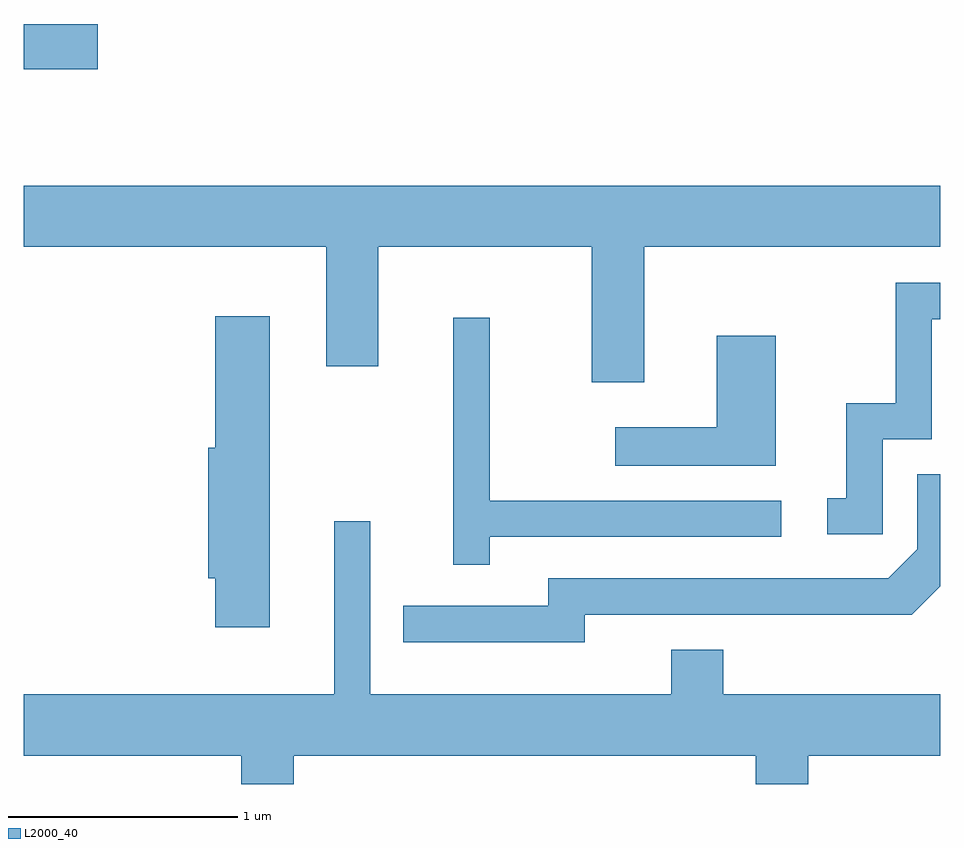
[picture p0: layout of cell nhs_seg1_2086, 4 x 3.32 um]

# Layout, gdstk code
import gdstk
lib = gdstk.Library(unit=1e-6, precision=1e-09)
def R(c, l, rs):  # rectangles x0, y0, x1, y1
    for r in rs: c.add(gdstk.rectangle(r[:2], r[2:], *l))
def P(c, l, *ps):  # polygons
    for p in ps: c.add(gdstk.Polygon(p, *l))
L2000_40 = (2000, 40)

nhs_seg1_2086 = lib.new_cell('nhs_seg1_2086')
R(nhs_seg1_2086, L2000_40, [(249.611,864.831,249.934,865.029)])
P(nhs_seg1_2086, L2000_40, [(252.319,864.056),(253.611,864.056),(253.611,864.324),(249.611,864.324),(249.611,864.056),(250.931,864.056),(250.931,863.536),(251.159,863.536),(251.159,864.056),(252.091,864.056),(252.091,863.466),(252.319,863.466)],
  [(253.359,863.216),(253.574,863.216),(253.574,863.741),(253.611,863.741),(253.611,863.899),(253.416,863.899),(253.416,863.374),(253.201,863.374),(253.201,862.959),(253.118,862.959),(253.118,862.801),(253.359,862.801)],
  [(250.684,863.754),(250.446,863.754),(250.446,863.179),(250.416,863.179),(250.416,862.611),(250.446,862.611),(250.446,862.396),(250.684,862.396)],
  [(251.644,862.791),(252.918,862.791),(252.918,862.949),(251.644,862.949),(251.644,863.748),(251.486,863.748),(251.486,862.668),(251.644,862.668)],
  [(252.894,863.669),(252.636,863.669),(252.636,863.269),(252.193,863.269),(252.193,863.101),(252.894,863.101)],
  [(252.059,862.451),(253.487,862.451),(253.611,862.576),(253.611,863.064),(253.511,863.064),(253.511,862.737),(253.384,862.609),(251.901,862.609),(251.901,862.489),(251.268,862.489),(251.268,862.331),(252.059,862.331)],
  [(250.789,861.836),(252.806,861.836),(252.806,861.712),(253.034,861.712),(253.034,861.836),(253.611,861.836),(253.611,862.104),(252.664,862.104),(252.664,862.299),(252.436,862.299),(252.436,862.104),(251.124,862.104),(251.124,862.858),(250.966,862.858),(250.966,862.104),(249.611,862.104),(249.611,861.836),(250.561,861.836),(250.561,861.712),(250.789,861.712)])

lib.write_gds('nhs_seg1_2086.gds')
